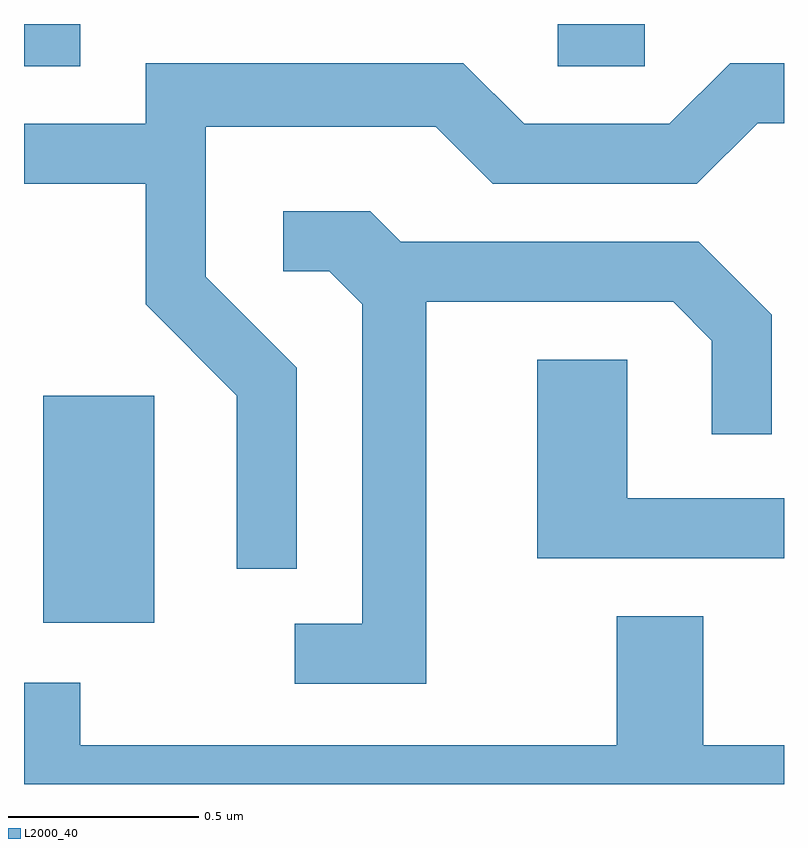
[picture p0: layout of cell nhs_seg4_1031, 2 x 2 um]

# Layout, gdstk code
import gdstk
lib = gdstk.Library(unit=1e-6, precision=1e-09)
def R(c, l, rs):  # rectangles x0, y0, x1, y1
    for r in rs: c.add(gdstk.rectangle(r[:2], r[2:], *l))
def P(c, l, *ps):  # polygons
    for p in ps: c.add(gdstk.Polygon(p, *l))
L2000_40 = (2000, 40)

nhs_seg4_1031 = lib.new_cell('nhs_seg4_1031')
R(nhs_seg4_1031, L2000_40, [(192.661,1326.406,192.954,1327.004), (192.611,1327.871,192.759,1327.982), (194.016,1327.871,194.244,1327.982)])
P(nhs_seg4_1031, L2000_40, [(193.329,1327.077),(193.089,1327.317),(193.089,1327.711),(193.694,1327.711),(193.844,1327.561),(194.382,1327.561),(194.542,1327.721),(194.611,1327.721),(194.611,1327.879),(194.469,1327.879),(194.309,1327.719),(193.927,1327.719),(193.767,1327.879),(192.931,1327.879),(192.931,1327.719),(192.611,1327.719),(192.611,1327.561),(192.931,1327.561),(192.931,1327.244),(193.171,1327.004),(193.171,1326.548),(193.329,1326.548)],
  [(193.669,1327.251),(194.319,1327.251),(194.421,1327.149),(194.421,1326.903),(194.579,1326.903),(194.579,1327.217),(194.387,1327.409),(193.602,1327.409),(193.522,1327.489),(193.293,1327.489),(193.293,1327.331),(193.414,1327.331),(193.501,1327.244),(193.501,1326.404),(193.323,1326.404),(193.323,1326.246),(193.669,1326.246)],
  [(194.611,1326.734),(194.199,1326.734),(194.199,1327.099),(193.961,1327.099),(193.961,1326.576),(194.611,1326.576)],
  [(194.611,1326.084),(194.399,1326.084),(194.399,1326.424),(194.171,1326.424),(194.171,1326.084),(192.759,1326.084),(192.759,1326.249),(192.611,1326.249),(192.611,1325.982),(194.611,1325.982)])

lib.write_gds('nhs_seg4_1031.gds')
